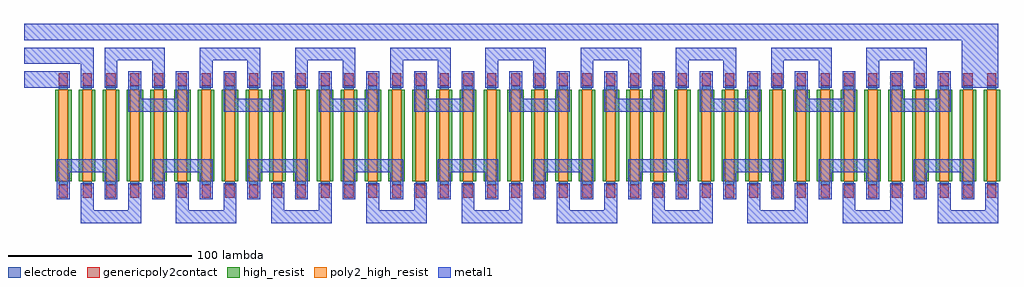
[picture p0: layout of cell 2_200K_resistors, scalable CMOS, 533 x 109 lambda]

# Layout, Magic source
magic
tech scmos
<< electrode >>
rect 189 254 194 256
rect 202 254 207 256
rect 215 254 220 256
rect 228 254 233 256
rect 241 254 246 256
rect 254 254 259 256
rect 267 254 272 256
rect 280 254 285 256
rect 293 254 298 256
rect 306 254 311 256
rect 319 254 324 256
rect 332 254 337 256
rect 345 254 350 256
rect 358 254 363 256
rect 371 254 376 256
rect 384 254 389 256
rect 397 254 402 256
rect 410 254 415 256
rect 423 254 428 256
rect 436 254 441 256
rect 449 254 454 256
rect 462 254 467 256
rect 475 254 480 256
rect 488 254 493 256
rect 501 254 506 256
rect 514 254 519 256
rect 527 254 532 256
rect 540 254 545 256
rect 553 254 558 256
rect 566 254 571 256
rect 579 254 584 256
rect 592 254 597 256
rect 605 254 610 256
rect 618 254 623 256
rect 631 254 636 256
rect 644 254 649 256
rect 657 254 662 256
rect 670 254 675 256
rect 683 254 688 256
rect 696 254 701 256
rect 189 202 194 204
rect 202 202 207 204
rect 215 202 220 204
rect 228 202 233 204
rect 241 202 246 204
rect 254 202 259 204
rect 267 202 272 204
rect 280 202 285 204
rect 293 202 298 204
rect 306 202 311 204
rect 319 202 324 204
rect 332 202 337 204
rect 345 202 350 204
rect 358 202 363 204
rect 371 202 376 204
rect 384 202 389 204
rect 397 202 402 204
rect 410 202 415 204
rect 423 202 428 204
rect 436 202 441 204
rect 449 202 454 204
rect 462 202 467 204
rect 475 202 480 204
rect 488 202 493 204
rect 501 202 506 204
rect 514 202 519 204
rect 527 202 532 204
rect 540 202 545 204
rect 553 202 558 204
rect 566 202 571 204
rect 579 202 584 204
rect 592 202 597 204
rect 605 202 610 204
rect 618 202 623 204
rect 631 202 636 204
rect 644 202 649 204
rect 657 202 662 204
rect 670 202 675 204
rect 683 202 688 204
rect 696 202 701 204
<< genericpoly2contact >>
rect 189 256 194 263
rect 202 256 207 263
rect 215 256 220 263
rect 228 256 233 263
rect 241 256 246 263
rect 254 256 259 263
rect 267 256 272 263
rect 280 256 285 263
rect 293 256 298 263
rect 306 256 311 263
rect 319 256 324 263
rect 332 256 337 263
rect 345 256 350 263
rect 358 256 363 263
rect 371 256 376 263
rect 384 256 389 263
rect 397 256 402 263
rect 410 256 415 263
rect 423 256 428 263
rect 436 256 441 263
rect 449 256 454 263
rect 462 256 467 263
rect 475 256 480 263
rect 488 256 493 263
rect 501 256 506 263
rect 514 256 519 263
rect 527 256 532 263
rect 540 256 545 263
rect 553 256 558 263
rect 566 256 571 263
rect 579 256 584 263
rect 592 256 597 263
rect 605 256 610 263
rect 618 256 623 263
rect 631 256 636 263
rect 644 256 649 263
rect 657 256 662 263
rect 670 256 675 263
rect 683 256 688 263
rect 696 256 701 263
rect 189 195 194 202
rect 202 195 207 202
rect 215 195 220 202
rect 228 195 233 202
rect 241 195 246 202
rect 254 195 259 202
rect 267 195 272 202
rect 280 195 285 202
rect 293 195 298 202
rect 306 195 311 202
rect 319 195 324 202
rect 332 195 337 202
rect 345 195 350 202
rect 358 195 363 202
rect 371 195 376 202
rect 384 195 389 202
rect 397 195 402 202
rect 410 195 415 202
rect 423 195 428 202
rect 436 195 441 202
rect 449 195 454 202
rect 462 195 467 202
rect 475 195 480 202
rect 488 195 493 202
rect 501 195 506 202
rect 514 195 519 202
rect 527 195 532 202
rect 540 195 545 202
rect 553 195 558 202
rect 566 195 571 202
rect 579 195 584 202
rect 592 195 597 202
rect 605 195 610 202
rect 618 195 623 202
rect 631 195 636 202
rect 644 195 649 202
rect 657 195 662 202
rect 670 195 675 202
rect 683 195 688 202
rect 696 195 701 202
<< metal1 >>
rect 170 281 702 290
rect 170 268 208 277
rect 170 255 195 264
rect 201 255 208 268
rect 214 270 247 277
rect 214 255 221 270
rect 227 249 234 264
rect 240 255 247 270
rect 266 270 299 277
rect 253 249 260 264
rect 266 255 273 270
rect 227 242 260 249
rect 279 249 286 264
rect 292 255 299 270
rect 318 270 351 277
rect 305 249 312 264
rect 318 255 325 270
rect 279 242 312 249
rect 331 249 338 264
rect 344 255 351 270
rect 370 270 403 277
rect 357 249 364 264
rect 370 255 377 270
rect 331 242 364 249
rect 383 249 390 264
rect 396 255 403 270
rect 422 270 455 277
rect 409 249 416 264
rect 422 255 429 270
rect 383 242 416 249
rect 435 249 442 264
rect 448 255 455 270
rect 474 270 507 277
rect 461 249 468 264
rect 474 255 481 270
rect 435 242 468 249
rect 487 249 494 264
rect 500 255 507 270
rect 526 270 559 277
rect 513 249 520 264
rect 526 255 533 270
rect 487 242 520 249
rect 539 249 546 264
rect 552 255 559 270
rect 578 270 611 277
rect 565 249 572 264
rect 578 255 585 270
rect 539 242 572 249
rect 591 249 598 264
rect 604 255 611 270
rect 630 270 663 277
rect 617 249 624 264
rect 630 255 637 270
rect 591 242 624 249
rect 643 249 650 264
rect 656 255 663 270
rect 669 249 676 264
rect 682 255 702 281
rect 643 242 676 249
rect 188 209 221 216
rect 188 194 195 209
rect 201 188 208 203
rect 214 194 221 209
rect 240 209 273 216
rect 227 188 234 203
rect 240 194 247 209
rect 201 181 234 188
rect 253 188 260 203
rect 266 194 273 209
rect 292 209 325 216
rect 279 188 286 203
rect 292 194 299 209
rect 253 181 286 188
rect 305 188 312 203
rect 318 194 325 209
rect 344 209 377 216
rect 331 188 338 203
rect 344 194 351 209
rect 305 181 338 188
rect 357 188 364 203
rect 370 194 377 209
rect 396 209 429 216
rect 383 188 390 203
rect 396 194 403 209
rect 357 181 390 188
rect 409 188 416 203
rect 422 194 429 209
rect 448 209 481 216
rect 435 188 442 203
rect 448 194 455 209
rect 409 181 442 188
rect 461 188 468 203
rect 474 194 481 209
rect 500 209 533 216
rect 487 188 494 203
rect 500 194 507 209
rect 461 181 494 188
rect 513 188 520 203
rect 526 194 533 209
rect 552 209 585 216
rect 539 188 546 203
rect 552 194 559 209
rect 513 181 546 188
rect 565 188 572 203
rect 578 194 585 209
rect 604 209 637 216
rect 591 188 598 203
rect 604 194 611 209
rect 565 181 598 188
rect 617 188 624 203
rect 630 194 637 209
rect 656 209 689 216
rect 643 188 650 203
rect 656 194 663 209
rect 617 181 650 188
rect 669 188 676 203
rect 682 194 689 209
rect 695 188 702 203
rect 669 181 702 188
<< high_resist >>
rect 187 204 189 254
rect 194 204 196 254
rect 200 204 202 254
rect 207 204 209 254
rect 213 204 215 254
rect 220 204 222 254
rect 226 204 228 254
rect 233 204 235 254
rect 239 204 241 254
rect 246 204 248 254
rect 252 204 254 254
rect 259 204 261 254
rect 265 204 267 254
rect 272 204 274 254
rect 278 204 280 254
rect 285 204 287 254
rect 291 204 293 254
rect 298 204 300 254
rect 304 204 306 254
rect 311 204 313 254
rect 317 204 319 254
rect 324 204 326 254
rect 330 204 332 254
rect 337 204 339 254
rect 343 204 345 254
rect 350 204 352 254
rect 356 204 358 254
rect 363 204 365 254
rect 369 204 371 254
rect 376 204 378 254
rect 382 204 384 254
rect 389 204 391 254
rect 395 204 397 254
rect 402 204 404 254
rect 408 204 410 254
rect 415 204 417 254
rect 421 204 423 254
rect 428 204 430 254
rect 434 204 436 254
rect 441 204 443 254
rect 447 204 449 254
rect 454 204 456 254
rect 460 204 462 254
rect 467 204 469 254
rect 473 204 475 254
rect 480 204 482 254
rect 486 204 488 254
rect 493 204 495 254
rect 499 204 501 254
rect 506 204 508 254
rect 512 204 514 254
rect 519 204 521 254
rect 525 204 527 254
rect 532 204 534 254
rect 538 204 540 254
rect 545 204 547 254
rect 551 204 553 254
rect 558 204 560 254
rect 564 204 566 254
rect 571 204 573 254
rect 577 204 579 254
rect 584 204 586 254
rect 590 204 592 254
rect 597 204 599 254
rect 603 204 605 254
rect 610 204 612 254
rect 616 204 618 254
rect 623 204 625 254
rect 629 204 631 254
rect 636 204 638 254
rect 642 204 644 254
rect 649 204 651 254
rect 655 204 657 254
rect 662 204 664 254
rect 668 204 670 254
rect 675 204 677 254
rect 681 204 683 254
rect 688 204 690 254
rect 694 204 696 254
rect 701 204 703 254
<< poly2_high_resist >>
rect 189 204 194 254
rect 202 204 207 254
rect 215 204 220 254
rect 228 204 233 254
rect 241 204 246 254
rect 254 204 259 254
rect 267 204 272 254
rect 280 204 285 254
rect 293 204 298 254
rect 306 204 311 254
rect 319 204 324 254
rect 332 204 337 254
rect 345 204 350 254
rect 358 204 363 254
rect 371 204 376 254
rect 384 204 389 254
rect 397 204 402 254
rect 410 204 415 254
rect 423 204 428 254
rect 436 204 441 254
rect 449 204 454 254
rect 462 204 467 254
rect 475 204 480 254
rect 488 204 493 254
rect 501 204 506 254
rect 514 204 519 254
rect 527 204 532 254
rect 540 204 545 254
rect 553 204 558 254
rect 566 204 571 254
rect 579 204 584 254
rect 592 204 597 254
rect 605 204 610 254
rect 618 204 623 254
rect 631 204 636 254
rect 644 204 649 254
rect 657 204 662 254
rect 670 204 675 254
rect 683 204 688 254
rect 696 204 701 254
<< end >>
